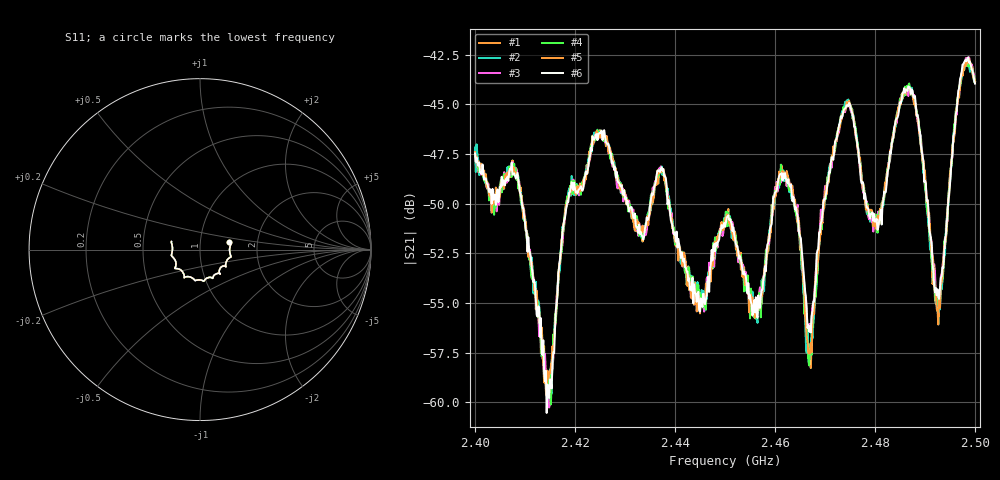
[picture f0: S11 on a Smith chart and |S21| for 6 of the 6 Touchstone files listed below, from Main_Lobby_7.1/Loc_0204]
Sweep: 2.4 GHz to 2.5 GHz
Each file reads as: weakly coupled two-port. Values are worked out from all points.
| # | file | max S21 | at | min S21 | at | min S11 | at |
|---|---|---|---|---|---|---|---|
| 1 | Lab_139_4Ch1.s2p | -42.89 dB | 2.4988 GHz | -60.3 dB | 2.4145 GHz | -16.0 dB | 2.4863 GHz |
| 2 | Lab_139_5Ch1.s2p | -42.70 dB | 2.4985 GHz | -59.9 dB | 2.415 GHz | -16.0 dB | 2.4862 GHz |
| 3 | Lab_139_6Ch1.s2p | -42.63 dB | 2.4987 GHz | -60.3 dB | 2.4148 GHz | -16.0 dB | 2.4862 GHz |
| 4 | Lab_139_7Ch1.s2p | -42.77 dB | 2.4983 GHz | -60.1 dB | 2.4152 GHz | -16.0 dB | 2.4862 GHz |
| 5 | Lab_139_8Ch1.s2p | -42.70 dB | 2.4988 GHz | -59.7 dB | 2.4143 GHz | -16.0 dB | 2.4862 GHz |
| 6 | Lab_139_9Ch1.s2p | -42.64 dB | 2.4987 GHz | -60.5 dB | 2.4143 GHz | -16.0 dB | 2.4862 GHz |
